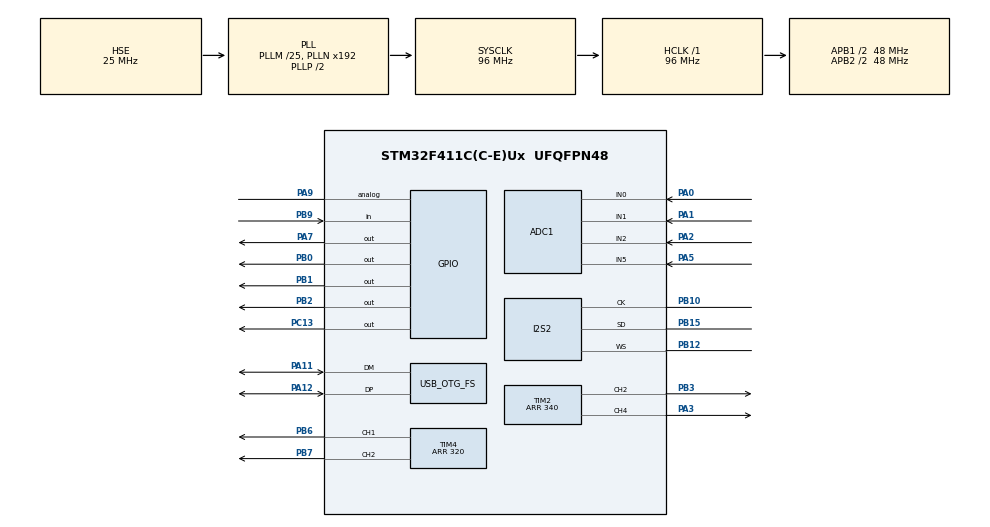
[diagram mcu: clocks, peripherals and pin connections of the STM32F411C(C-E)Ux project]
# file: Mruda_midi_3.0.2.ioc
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ADC1.Channel-0\#ChannelRegularConversion=ADC_CHANNEL_0
ADC1.Channel-1\#ChannelRegularConversion=ADC_CHANNEL_1
ADC1.Channel-2\#ChannelRegularConversion=ADC_CHANNEL_2
ADC1.ContinuousConvMode=ENABLE
ADC1.DMAContinuousRequests=ENABLE
ADC1.InjNumberOfConversion=0
ADC1.NbrOfConversion=3
ADC1.NbrOfConversionFlag=1
ADC1.Rank-0\#ChannelRegularConversion=1
ADC1.Rank-1\#ChannelRegularConversion=2
ADC1.Rank-2\#ChannelRegularConversion=3
ADC1.SamplingTime-0\#ChannelRegularConversion=ADC_SAMPLETIME_15CYCLES
ADC1.SamplingTime-1\#ChannelRegularConversion=ADC_SAMPLETIME_15CYCLES
ADC1.SamplingTime-2\#ChannelRegularConversion=ADC_SAMPLETIME_15CYCLES
ADC1.master=1
Dma.ADC1.1.Direction=DMA_PERIPH_TO_MEMORY
Dma.ADC1.1.FIFOMode=DMA_FIFOMODE_DISABLE
Dma.ADC1.1.Instance=DMA2_Stream0
Dma.ADC1.1.MemDataAlignment=DMA_MDATAALIGN_HALFWORD
Dma.ADC1.1.MemInc=DMA_MINC_ENABLE
Dma.ADC1.1.Mode=DMA_CIRCULAR
Dma.ADC1.1.PeriphDataAlignment=DMA_PDATAALIGN_HALFWORD
Dma.ADC1.1.PeriphInc=DMA_PINC_DISABLE
Dma.ADC1.1.Priority=DMA_PRIORITY_LOW
Dma.Request0=SPI2_TX
Dma.Request1=ADC1
Dma.SPI2_TX.0.Direction=DMA_MEMORY_TO_PERIPH
Dma.SPI2_TX.0.FIFOMode=DMA_FIFOMODE_DISABLE
Dma.SPI2_TX.0.Instance=DMA1_Stream4
Dma.SPI2_TX.0.MemDataAlignment=DMA_MDATAALIGN_HALFWORD
Dma.SPI2_TX.0.MemInc=DMA_MINC_ENABLE
Dma.SPI2_TX.0.Mode=DMA_CIRCULAR
Dma.SPI2_TX.0.PeriphDataAlignment=DMA_PDATAALIGN_HALFWORD
Dma.SPI2_TX.0.PeriphInc=DMA_PINC_DISABLE
Dma.SPI2_TX.0.Priority=DMA_PRIORITY_VERY_HIGH
I2S2.AudioFreq=I2S_AUDIOFREQ_16K
I2S2.DataFormat=I2S_DATAFORMAT_16B
I2S2.ErrorAudioFreq=-0.03 %
I2S2.FullDuplexMode=I2S_FULLDUPLEXMODE_DISABLE
I2S2.Instance=SPI$Index
I2S2.RealAudioFreq=15.995 KHz
I2S2.Standard=I2S_STANDARD_PHILIPS
I2S2.VirtualMode=I2S_MODE_MASTER
Mcu.Family=STM32F4
Mcu.Name=STM32F411C(C-E)Ux
Mcu.Package=UFQFPN48
NVIC.DMA1_Stream4_IRQn=true\:0\:0\:false\:false\:true\:false\:true\:true
NVIC.DMA2_Stream0_IRQn=true\:0\:0\:false\:false\:true\:false\:true\:true
NVIC.OTG_FS_IRQn=true\:0\:0\:false\:false\:true\:false\:true\:true
NVIC.PriorityGroup=NVIC_PRIORITYGROUP_4
PA0-WKUP.Signal=ADCx_IN0
PA1.Signal=ADCx_IN1
PA11.Mode=Device_Only
PA11.Signal=USB_OTG_FS_DM
PA12.Mode=Device_Only
PA12.Signal=USB_OTG_FS_DP
PA2.Signal=ADCx_IN2
PA3.Signal=S_TIM2_CH4
PA4.Signal=ADCx_IN4
PA5.Signal=ADCx_IN5
PA7.Signal=GPIO_Output
PA9.Signal=GPIO_Analog
PB0.Signal=GPIO_Output
PB1.Signal=GPIO_Output
PB10.Mode=Half_Duplex_Master
PB10.Signal=I2S2_CK
PB12.Mode=Half_Duplex_Master
PB12.Signal=I2S2_WS
PB15.Mode=Half_Duplex_Master
PB15.Signal=I2S2_SD
PB2.Signal=GPIO_Output
PB3.Signal=S_TIM2_CH2
PB6.Signal=S_TIM4_CH1
PB7.Signal=S_TIM4_CH2
PB9.GPIO_PuPd=GPIO_PULLUP
PB9.Signal=GPIO_Input
PC13-ANTI_TAMP.Signal=GPIO_Output
PH0\ -\ OSC_IN.Mode=HSE-External-Oscillator
PH0\ -\ OSC_IN.Signal=RCC_OSC_IN
PH1\ -\ OSC_OUT.Mode=HSE-External-Oscillator
PH1\ -\ OSC_OUT.Signal=RCC_OSC_OUT
ProjectManager.HeapSize=0x200
ProjectManager.StackSize=0x400
ProjectManager.TargetToolchain=STM32CubeIDE
RCC.48MHZClocksFreq_Value=48000000
RCC.AHBFreq_Value=96000000
RCC.APB1CLKDivider=RCC_HCLK_DIV2
RCC.APB1Freq_Value=48000000
RCC.APB1TimFreq_Value=96000000
RCC.APB2CLKDivider=RCC_HCLK_DIV2
RCC.APB2Freq_Value=48000000
RCC.APB2TimFreq_Value=96000000
RCC.CortexFreq_Value=96000000
RCC.HCLKFreq_Value=96000000
RCC.HSE_VALUE=25000000
RCC.HSI_VALUE=16000000
RCC.LSE_VALUE=32768
RCC.PLLI2SM=20
RCC.PLLI2SN=190
RCC.PLLM=25
RCC.SYSCLKFreq_VALUE=96000000
RCC.SYSCLKSource=RCC_SYSCLKSOURCE_PLLCLK
RCC.VCOOutputFreq_Value=192000000
SH.ADCx_IN0.0=ADC1_IN0,IN0
SH.ADCx_IN1.0=ADC1_IN1,IN1
SH.ADCx_IN2.0=ADC1_IN2,IN2
SH.ADCx_IN4.0=ADC1_IN4
SH.ADCx_IN5.0=ADC1_IN5,IN5
SH.S_TIM2_CH2.0=TIM2_CH2,PWM Generation2 CH2
SH.S_TIM2_CH4.0=TIM2_CH4,PWM Generation4 CH4
SH.S_TIM4_CH1.0=TIM4_CH1,Output Compare1 CH1
SH.S_TIM4_CH2.0=TIM4_CH2,Output Compare2 CH2
TIM2.Channel-PWM\ Generation2\ CH2=TIM_CHANNEL_2
TIM2.Channel-PWM\ Generation4\ CH4=TIM_CHANNEL_4
TIM2.Period=340
TIM2.Pulse-PWM\ Generation4\ CH4=170
TIM3.AutoReloadPreload=TIM_AUTORELOAD_PRELOAD_ENABLE
TIM3.Prescaler=95
TIM4.AutoReloadPreload=TIM_AUTORELOAD_PRELOAD_ENABLE
TIM4.Channel-Output\ Compare1\ CH1=TIM_CHANNEL_1
TIM4.Channel-Output\ Compare2\ CH2=TIM_CHANNEL_2
TIM4.OCMode_1=TIM_OCMODE_TOGGLE
TIM4.OCMode_2=TIM_OCMODE_TOGGLE
TIM4.OCPolarity_1=TIM_OCPOLARITY_LOW
TIM4.Period=320
TIM4.Pulse-Output\ Compare2\ CH2=15
USB_DEVICE.CLASS_NAME_FS=HID
USB_DEVICE.VirtualMode=Hid
USB_DEVICE.VirtualModeFS=Hid_FS
USB_OTG_FS.VirtualMode=Device_Only
VP_TIM2_VS_ClockSourceINT.Mode=Internal
VP_TIM3_VS_ClockSourceINT.Mode=Internal
VP_USB_DEVICE_VS_USB_DEVICE_HID_FS.Mode=HID_FS
board=custom

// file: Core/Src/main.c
/* USER CODE BEGIN Header */
/* USER CODE END Header */
#include "main.h"
#include "usb_device.h"

/* USER CODE BEGIN Includes */

#include "usbd_hid.h"
#include "function/general_func.h"
#include "function/measure.h"
#include "tm1637.h"
#include "function/synth.h"
#include "function/func_sel.h"
#include "function/f_set.h"
#include "function/debugs.h"
#include "function/midi.h"
#include "function/usb.h"

uint16_t adc_dma_buffer[ADC_DMA_LEN];
float adc_val[ADC_DMA_LEN];
long main_time, main_time_COUNTER;

operation_mode mode;

/* USER CODE END Includes */

/* USER CODE BEGIN PTD */

extern USBD_HandleTypeDef hUsbDeviceFS;

/* USER CODE END PTD */

ADC_HandleTypeDef hadc1;
DMA_HandleTypeDef hdma_adc1;

I2S_HandleTypeDef hi2s2;
DMA_HandleTypeDef hdma_spi2_tx;

TIM_HandleTypeDef htim2;
TIM_HandleTypeDef htim3;
TIM_HandleTypeDef htim4;

void SystemClock_Config(void);
static void MX_GPIO_Init(void);
static void MX_DMA_Init(void);
static void MX_ADC1_Init(void);
static void MX_I2S2_Init(void);
static void MX_TIM2_Init(void);
static void MX_TIM3_Init(void);
static void MX_TIM4_Init(void);

/* USER CODE BEGIN 0 */

uint32_t t1_adc, t2_adc, dt_adc;

void HAL_ADC_ConvCpltCallback(ADC_HandleTypeDef* hadc){
	t2_adc = t1_adc;
	t1_adc = __HAL_TIM_GET_COUNTER(&htim3);
	for(int i=0;i<ADC_DMA_LEN;i++){
	adc_val[i]=(float)adc_dma_buffer[i];
	}
}

/* USER CODE END 0 */

int main(void)
{

  /* USER CODE BEGIN 1 */
	SCB->VTOR = 0x08010000;
	__enable_irq();

  /* USER CODE END 1 */

  /* MCU Configuration--------------------------------------------------------*/

  /* Reset of all peripherals, Initializes the Flash interface and the Systick. */
  HAL_Init();

  /* USER CODE BEGIN Init */

  	set_defaults();
  	update_all_presets();

  /* USER CODE END Init */

  /* Configure the system clock */
  SystemClock_Config();

  /* Initialize all configured peripherals */
  MX_GPIO_Init();
  MX_DMA_Init();
  MX_ADC1_Init();
  MX_I2S2_Init();
  MX_TIM2_Init();
  MX_TIM3_Init();
  MX_TIM4_Init();
  MX_USB_DEVICE_Init();
  /* USER CODE BEGIN 2 */

  //these is to set the timer to set tjhe dac and excitation signal

  HAL_TIM_PWM_Start(&htim4, TIM_CHANNEL_2);
  HAL_TIM_PWM_Start(&htim4, TIM_CHANNEL_1);
  __HAL_TIM_SET_COMPARE(&htim4, TIM_CHANNEL_1, 0);

  HAL_TIM_Base_Start(&htim3);
  HAL_TIM_PWM_Start(&htim2, TIM_CHANNEL_4);

  __HAL_TIM_SET_COMPARE(&htim4, TIM_CHANNEL_2, 15); // phase shift for reference

  TM1637_Init();
  HAL_Delay(50);
  HAL_ADC_Start_DMA(&hadc1, (uint32_t*)adc_dma_buffer, ADC_DMA_LEN);
  HAL_Delay(50);
  key_cal();

  DWT_Delay_Init();

  /* USER CODE END 2 */

  /* Infinite loop */
  /* USER CODE BEGIN WHILE */
  static uint32_t last_count;
  while(1)
  {
	  uint32_t now = __HAL_TIM_GET_COUNTER(&htim3);
	  if ((now - last_count) >= 250) // loop of 250ms to run continously
	  {
		  dt_adc = t1_adc - t2_adc;
	        last_count = now;
	        get_touch_position();
	        pos_measure_f_cal();
	        function_process();
	  }
    /* USER CODE END WHILE */

  }
}

void SystemClock_Config(void)
{
  RCC_OscInitTypeDef RCC_OscInitStruct = {0};
  RCC_ClkInitTypeDef RCC_ClkInitStruct = {0};

  /** Configure the main internal regulator output voltage
  */
  __HAL_RCC_PWR_CLK_ENABLE();
  __HAL_PWR_VOLTAGESCALING_CONFIG(PWR_REGULATOR_VOLTAGE_SCALE1);

  /** Initializes the RCC Oscillators according to the specified parameters
  * in the RCC_OscInitTypeDef structure.
  */
  RCC_OscInitStruct.OscillatorType = RCC_OSCILLATORTYPE_HSE;
  RCC_OscInitStruct.HSEState = RCC_HSE_ON;
  RCC_OscInitStruct.PLL.PLLState = RCC_PLL_ON;
  RCC_OscInitStruct.PLL.PLLSource = RCC_PLLSOURCE_HSE;
  RCC_OscInitStruct.PLL.PLLM = 25;
  RCC_OscInitStruct.PLL.PLLN = 192;
  RCC_OscInitStruct.PLL.PLLP = RCC_PLLP_DIV2;
  RCC_OscInitStruct.PLL.PLLQ = 4;
  if (HAL_RCC_OscConfig(&RCC_OscInitStruct) != HAL_OK)
  {
    Error_Handler();
  }

  /** Initializes the CPU, AHB and APB buses clocks
  */
  RCC_ClkInitStruct.ClockType = RCC_CLOCKTYPE_HCLK|RCC_CLOCKTYPE_SYSCLK
                              |RCC_CLOCKTYPE_PCLK1|RCC_CLOCKTYPE_PCLK2;
  RCC_ClkInitStruct.SYSCLKSource = RCC_SYSCLKSOURCE_PLLCLK;
  RCC_ClkInitStruct.AHBCLKDivider = RCC_SYSCLK_DIV1;
  RCC_ClkInitStruct.APB1CLKDivider = RCC_HCLK_DIV2;
  RCC_ClkInitStruct.APB2CLKDivider = RCC_HCLK_DIV2;

  if (HAL_RCC_ClockConfig(&RCC_ClkInitStruct, FLASH_LATENCY_3) != HAL_OK)
  {
    Error_Handler();
  }
}

static void MX_ADC1_Init(void)
{

  ADC_ChannelConfTypeDef sConfig = {0};

  /** Configure the global features of the ADC (Clock, Resolution, Data Alignment and number of conversion)
  */
  hadc1.Instance = ADC1;
  hadc1.Init.ClockPrescaler = ADC_CLOCK_SYNC_PCLK_DIV2;
  hadc1.Init.Resolution = ADC_RESOLUTION_12B;
  hadc1.Init.ScanConvMode = ENABLE;
  hadc1.Init.ContinuousConvMode = ENABLE;
  hadc1.Init.DiscontinuousConvMode = DISABLE;
  hadc1.Init.ExternalTrigConvEdge = ADC_EXTERNALTRIGCONVEDGE_NONE;
  hadc1.Init.ExternalTrigConv = ADC_SOFTWARE_START;
  hadc1.Init.DataAlign = ADC_DATAALIGN_RIGHT;
  hadc1.Init.NbrOfConversion = 3;
  hadc1.Init.DMAContinuousRequests = ENABLE;
  hadc1.Init.EOCSelection = ADC_EOC_SINGLE_CONV;
  if (HAL_ADC_Init(&hadc1) != HAL_OK)
  {
    Error_Handler();
  }

  /** Configure for the selected ADC regular channel its corresponding rank in the sequencer and its sample time.
  */
  sConfig.Channel = ADC_CHANNEL_0;
  sConfig.Rank = 1;
  sConfig.SamplingTime = ADC_SAMPLETIME_15CYCLES;
  if (HAL_ADC_ConfigChannel(&hadc1, &sConfig) != HAL_OK)
  {
    Error_Handler();
  }

  /** Configure for the selected ADC regular channel its corresponding rank in the sequencer and its sample time.
  */
  sConfig.Channel = ADC_CHANNEL_1;
  sConfig.Rank = 2;
  if (HAL_ADC_ConfigChannel(&hadc1, &sConfig) != HAL_OK)
  {
    Error_Handler();
  }

  /** Configure for the selected ADC regular channel its corresponding rank in the sequencer and its sample time.
  */
  sConfig.Channel = ADC_CHANNEL_2;
  sConfig.Rank = 3;
  if (HAL_ADC_ConfigChannel(&hadc1, &sConfig) != HAL_OK)
  {
    Error_Handler();
  }

}

static void MX_I2S2_Init(void)
{

  hi2s2.Instance = SPI2;
  hi2s2.Init.Mode = I2S_MODE_MASTER_TX;
  hi2s2.Init.Standard = I2S_STANDARD_PHILIPS;
  hi2s2.Init.DataFormat = I2S_DATAFORMAT_16B;
  hi2s2.Init.MCLKOutput = I2S_MCLKOUTPUT_DISABLE;
  hi2s2.Init.AudioFreq = I2S_AUDIOFREQ_16K;
  hi2s2.Init.CPOL = I2S_CPOL_LOW;
  hi2s2.Init.ClockSource = I2S_CLOCK_PLL;
  hi2s2.Init.FullDuplexMode = I2S_FULLDUPLEXMODE_DISABLE;
  if (HAL_I2S_Init(&hi2s2) != HAL_OK)
  {
    Error_Handler();
  }

}

static void MX_TIM2_Init(void)
{

  TIM_ClockConfigTypeDef sClockSourceConfig = {0};
  TIM_MasterConfigTypeDef sMasterConfig = {0};
  TIM_OC_InitTypeDef sConfigOC = {0};

  htim2.Instance = TIM2;
  htim2.Init.Prescaler = 0;
  htim2.Init.CounterMode = TIM_COUNTERMODE_UP;
  htim2.Init.Period = 340;
  htim2.Init.ClockDivision = TIM_CLOCKDIVISION_DIV1;
  htim2.Init.AutoReloadPreload = TIM_AUTORELOAD_PRELOAD_DISABLE;
  if (HAL_TIM_Base_Init(&htim2) != HAL_OK)
  {
    Error_Handler();
  }
  sClockSourceConfig.ClockSource = TIM_CLOCKSOURCE_INTERNAL;
  if (HAL_TIM_ConfigClockSource(&htim2, &sClockSourceConfig) != HAL_OK)
  {
    Error_Handler();
  }
  if (HAL_TIM_PWM_Init(&htim2) != HAL_OK)
  {
    Error_Handler();
  }
  sMasterConfig.MasterOutputTrigger = TIM_TRGO_RESET;
  sMasterConfig.MasterSlaveMode = TIM_MASTERSLAVEMODE_DISABLE;
  if (HAL_TIMEx_MasterConfigSynchronization(&htim2, &sMasterConfig) != HAL_OK)
  {
    Error_Handler();
  }
  sConfigOC.OCMode = TIM_OCMODE_PWM1;
  sConfigOC.Pulse = 0;
  sConfigOC.OCPolarity = TIM_OCPOLARITY_HIGH;
  sConfigOC.OCFastMode = TIM_OCFAST_DISABLE;
  if (HAL_TIM_PWM_ConfigChannel(&htim2, &sConfigOC, TIM_CHANNEL_2) != HAL_OK)
  {
    Error_Handler();
  }
  sConfigOC.Pulse = 170;
  if (HAL_TIM_PWM_ConfigChannel(&htim2, &sConfigOC, TIM_CHANNEL_4) != HAL_OK)
  {
    Error_Handler();
  }
  HAL_TIM_MspPostInit(&htim2);

}

static void MX_TIM3_Init(void)
{

  TIM_ClockConfigTypeDef sClockSourceConfig = {0};
  TIM_MasterConfigTypeDef sMasterConfig = {0};

  htim3.Instance = TIM3;
  htim3.Init.Prescaler = 95;
  htim3.Init.CounterMode = TIM_COUNTERMODE_UP;
  htim3.Init.Period = 65535;
  htim3.Init.ClockDivision = TIM_CLOCKDIVISION_DIV1;
  htim3.Init.AutoReloadPreload = TIM_AUTORELOAD_PRELOAD_ENABLE;
  if (HAL_TIM_Base_Init(&htim3) != HAL_OK)
  {
    Error_Handler();
  }
  sClockSourceConfig.ClockSource = TIM_CLOCKSOURCE_INTERNAL;
  if (HAL_TIM_ConfigClockSource(&htim3, &sClockSourceConfig) != HAL_OK)
  {
    Error_Handler();
  }
  sMasterConfig.MasterOutputTrigger = TIM_TRGO_RESET;
  sMasterConfig.MasterSlaveMode = TIM_MASTERSLAVEMODE_DISABLE;
  if (HAL_TIMEx_MasterConfigSynchronization(&htim3, &sMasterConfig) != HAL_OK)
  {
    Error_Handler();
  }

}

static void MX_TIM4_Init(void)
{

  TIM_MasterConfigTypeDef sMasterConfig = {0};
  TIM_OC_InitTypeDef sConfigOC = {0};

  htim4.Instance = TIM4;
  htim4.Init.Prescaler = 0;
  htim4.Init.CounterMode = TIM_COUNTERMODE_UP;
  htim4.Init.Period = 320;
  htim4.Init.ClockDivision = TIM_CLOCKDIVISION_DIV1;
  htim4.Init.AutoReloadPreload = TIM_AUTORELOAD_PRELOAD_ENABLE;
  if (HAL_TIM_OC_Init(&htim4) != HAL_OK)
  {
    Error_Handler();
  }
  sMasterConfig.MasterOutputTrigger = TIM_TRGO_RESET;
  sMasterConfig.MasterSlaveMode = TIM_MASTERSLAVEMODE_DISABLE;
  if (HAL_TIMEx_MasterConfigSynchronization(&htim4, &sMasterConfig) != HAL_OK)
  {
    Error_Handler();
  }
  sConfigOC.OCMode = TIM_OCMODE_TOGGLE;
  sConfigOC.Pulse = 0;
  sConfigOC.OCPolarity = TIM_OCPOLARITY_LOW;
  sConfigOC.OCFastMode = TIM_OCFAST_DISABLE;
  if (HAL_TIM_OC_ConfigChannel(&htim4, &sConfigOC, TIM_CHANNEL_1) != HAL_OK)
  {
    Error_Handler();
  }
  sConfigOC.Pulse = 15;
  sConfigOC.OCPolarity = TIM_OCPOLARITY_HIGH;
  if (HAL_TIM_OC_ConfigChannel(&htim4, &sConfigOC, TIM_CHANNEL_2) != HAL_OK)
  {
    Error_Handler();
  }
  HAL_TIM_MspPostInit(&htim4);

}

static void MX_DMA_Init(void)
{

  /* DMA controller clock enable */
  __HAL_RCC_DMA1_CLK_ENABLE();
  __HAL_RCC_DMA2_CLK_ENABLE();

  /* DMA interrupt init */
  /* DMA1_Stream4_IRQn interrupt configuration */
  HAL_NVIC_SetPriority(DMA1_Stream4_IRQn, 0, 0);
  HAL_NVIC_EnableIRQ(DMA1_Stream4_IRQn);
  /* DMA2_Stream0_IRQn interrupt configuration */
  HAL_NVIC_SetPriority(DMA2_Stream0_IRQn, 0, 0);
  HAL_NVIC_EnableIRQ(DMA2_Stream0_IRQn);

}

static void MX_GPIO_Init(void)
{
  GPIO_InitTypeDef GPIO_InitStruct = {0};

  /* GPIO Ports Clock Enable */
  __HAL_RCC_GPIOC_CLK_ENABLE();
  __HAL_RCC_GPIOH_CLK_ENABLE();
  __HAL_RCC_GPIOA_CLK_ENABLE();
  __HAL_RCC_GPIOB_CLK_ENABLE();

  /*Configure GPIO pin Output Level */
  HAL_GPIO_WritePin(GPIOC, GPIO_PIN_13, GPIO_PIN_RESET);

  /*Configure GPIO pin Output Level */
  HAL_GPIO_WritePin(GPIOA, GPIO_PIN_7, GPIO_PIN_RESET);

  /*Configure GPIO pin Output Level */
  HAL_GPIO_WritePin(GPIOB, GPIO_PIN_0|GPIO_PIN_1|GPIO_PIN_2, GPIO_PIN_RESET);

  /*Configure GPIO pin : PC13 */
  GPIO_InitStruct.Pin = GPIO_PIN_13;
  GPIO_InitStruct.Mode = GPIO_MODE_OUTPUT_PP;
  GPIO_InitStruct.Pull = GPIO_NOPULL;
  GPIO_InitStruct.Speed = GPIO_SPEED_FREQ_LOW;
  HAL_GPIO_Init(GPIOC, &GPIO_InitStruct);

  /*Configure GPIO pin : PA7 */
  GPIO_InitStruct.Pin = GPIO_PIN_7;
  GPIO_InitStruct.Mode = GPIO_MODE_OUTPUT_PP;
  GPIO_InitStruct.Pull = GPIO_NOPULL;
  GPIO_InitStruct.Speed = GPIO_SPEED_FREQ_LOW;
  HAL_GPIO_Init(GPIOA, &GPIO_InitStruct);

  /*Configure GPIO pins : PB0 PB1 PB2 */
  GPIO_InitStruct.Pin = GPIO_PIN_0|GPIO_PIN_1|GPIO_PIN_2;
  GPIO_InitStruct.Mode = GPIO_MODE_OUTPUT_PP;
  GPIO_InitStruct.Pull = GPIO_NOPULL;
  GPIO_InitStruct.Speed = GPIO_SPEED_FREQ_LOW;
  HAL_GPIO_Init(GPIOB, &GPIO_InitStruct);

  /*Configure GPIO pin : PA9 */
  GPIO_InitStruct.Pin = GPIO_PIN_9;
  GPIO_InitStruct.Mode = GPIO_MODE_ANALOG;
  GPIO_InitStruct.Pull = GPIO_NOPULL;
  HAL_GPIO_Init(GPIOA, &GPIO_InitStruct);

  /*Configure GPIO pin : PB9 */
  GPIO_InitStruct.Pin = GPIO_PIN_9;
  GPIO_InitStruct.Mode = GPIO_MODE_INPUT;
  GPIO_InitStruct.Pull = GPIO_PULLUP;
  HAL_GPIO_Init(GPIOB, &GPIO_InitStruct);

}

void Error_Handler(void)
{
}
